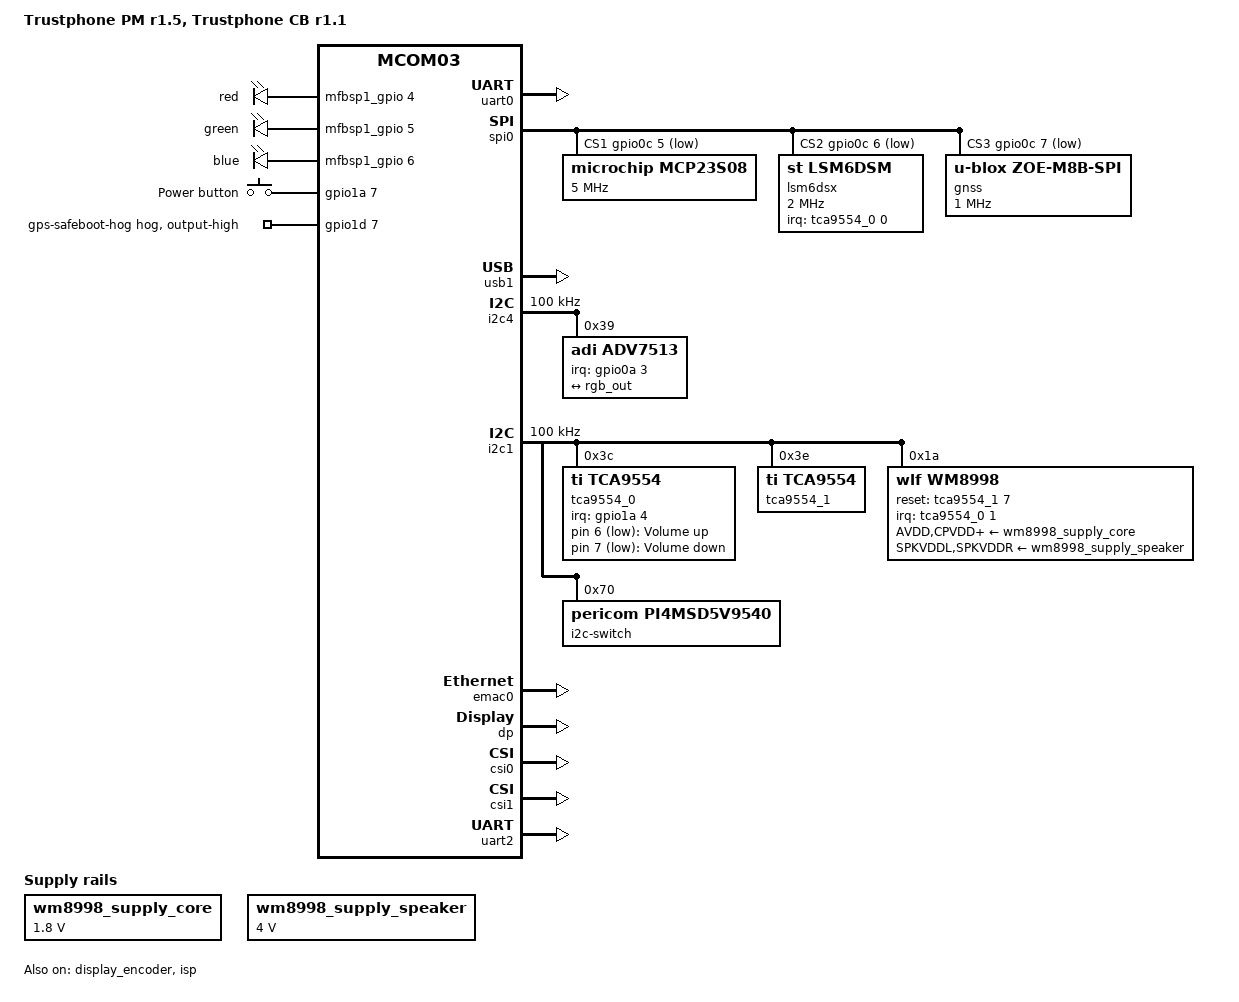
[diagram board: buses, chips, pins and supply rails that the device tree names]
// SPDX-License-Identifier: GPL-2.0+
/*
 * Copyright 2021 RnD Center "ELVEES", JSC
 */

/dts-v1/;

#include <dt-bindings/mfd/arizona.h>
#include <dt-bindings/input/linux-event-codes.h>

#include "mcom03-trustphonepm-r1.5.dtsi"

/ {
	model = "Trustphone PM r1.5, Trustphone CB r1.1";
	compatible = "elvees,trustphonepm-r1.5-trustphonecb-r1.1",
		     "elvees,trustphonepm-trustphonecb",
		     "elvees,trustphonecb-r1.1",
		     "elvees,trustphonecb",
		     "elvees,trustphonepm-r1.5",
		     "elvees,trustphonepm",
		     "elvees,mcom03";

	trustphonecb-leds {
		compatible = "gpio-leds";

		red {
			gpios = <&mfbsp1_gpio 4 GPIO_ACTIVE_HIGH>;
			default-state = "off";
		};

		green {
			gpios = <&mfbsp1_gpio 5 GPIO_ACTIVE_HIGH>;
			default-state = "off";
		};

		blue {
			gpios = <&mfbsp1_gpio 6 GPIO_ACTIVE_HIGH>;
			default-state = "off";
		};
	};

	trustphonecb_gpio_keys: gpio-keys {
		compatible = "gpio-keys";
		autorepeat;
		pinctrl-names = "default";
		pinctrl-0 = <&pwr_button_cfg_default &gpio_pwr_button_mux>;

		power-button {
			label = "Power button";
			linux,code = <KEY_POWER>;
			interrupts-extended = <&gpio1a 7 IRQ_TYPE_LEVEL_LOW>;
		};

		volume-up {
			label = "Volume up";
			linux,code = <KEY_VOLUMEUP>;
			gpios = <&tca9554_0 6 GPIO_ACTIVE_LOW>;
		};

		volume-down {
			label = "Volume down";
			linux,code = <KEY_VOLUMEDOWN>;
			gpios = <&tca9554_0 7 GPIO_ACTIVE_LOW>;
		};
	};

	adv7513_cec_clk: adv7513_cec_clk {
		#clock-cells = <0>;
		compatible = "fixed-clock";
		clock-frequency = <12000000>;
	};

	/* regulator@0 is described in mcom03-trustphonepm-r1.5.dtsi */
	wm8998_supply_core: regulator@1 {
		compatible = "regulator-fixed";
		regulator-name = "wm8998-supply-core";
		regulator-min-microvolt = <1800000>;
		regulator-max-microvolt = <1800000>;
		regulator-always-on;
	};

	wm8998_supply_speaker: regulator@2 {
		compatible = "regulator-fixed";
		regulator-name = "wm8998-supply-speaker";
		regulator-min-microvolt = <4000000>;
		regulator-max-microvolt = <4000000>;
		regulator-always-on;
	};

	soundcard@0 {
		compatible = "elvees,trustphone-wm8998";

		model = "Trustphone WM8998";

		elvees,audio-routing =
			"Modem Out", "Modem TX",
			"Modem RX", "Modem In",
			"AIF2 Capture", "Modem Out",
			"Modem RX", "AIF2 Playback",
			"IN2B", "MICBIAS1",
			"IN1BL", "MICVDD";

		codec {
			sound-dai = <&wm8998>;
		};
	};
};

&uart0 {
	status = "okay";
};

&spi0 {
	status = "okay";
	num-cs = <4>;
	cs-gpios = <&gpio0c 4 GPIO_ACTIVE_LOW>, <&gpio0c 5 GPIO_ACTIVE_LOW>,
		   <&gpio0c 6 GPIO_ACTIVE_LOW>, <&gpio0c 7 GPIO_ACTIVE_LOW>;

	mcp23s08: gpio-expander@1 {
		compatible = "microchip,mcp23s08";
		reg = <1>;
		#gpio-cells = <2>;
		gpio-controller;
		spi-max-frequency = <5000000>;
		microchip,spi-present-mask = <0x1>;
		gpio-line-names = "CAMR_CUT", "CAMF_CUT", "WIFI_CUT",
				  "SPEAKER_CUT", "MIC_CUT", "GIRO_CUT",
				  "GPS_CUT", "VIBRO_CUT";
	};

	lsm6dsx: imu@2 {
		compatible = "st,lsm6dsm";
		reg = <2>;
		// Maximum is 10 MHz, but lower here due to bad MISO signal
		spi-max-frequency = <2000000>;

		interrupt-parent = <&tca9554_0>;
		interrupts = <0 IRQ_TYPE_EDGE_RISING>;
	};

	gnss@3 {
		compatible = "u-blox,zoe-m8b-spi";
		reg = <3>;
		spi-max-frequency = <1000000>;
	};
};

/* GPIO lines are named after their connection name either on Trusphone PM or
 * on Trusphone CB. */
&gpio0a {
	gpio-line-names = "BT_UART_RX", "BT_UART_TX", "BT_UART_CTS", "HDMI_INT",
		"RTC_MFP", "PMIC1_INTB", "RGMII_INT", "BT_UART_RTS";
};

&gpio0b {
	gpio-line-names = "CHG_EN", "CHG_DSEL", "CHG_QON", "CHG_STATUS", "TE",
		"UART1_RX", "UART1_TX", "UART2_RX";
};

&gpio0c {
	gpio-line-names = "SPI0_CLK", "SPI0_MOSI", "SPI0_MISO", "D_GPIO",
		"SPI0_nCS_FP", "SPI0_nCS_CUT", "SPI0_nCS_GYRO", "SPI0_nCS_GNSS";
};

&gpio0d {
	gpio-line-names = "UART2_TX", "DSP_HWEN", "CAMR_PWDN", "I2C0_SCL",
		"I2C0_SDA", "I2C0_ALERT", "CAMF_PWDN", "EN_CAMF_CLK";
};

&gpio1a {
	gpio-line-names = "I2C1_SCL", "I2C1_SDA", "BT_HOST_WAKE",
		"WL_HOST_WAKE", "INT_EXP_INT", "TPS_INT", "CHG_INT",
		"PWR_BUT_INT";

	gpio_pwr_button_mux: pwr-button {
		gpio {
			groups = "pin7";
		};
	};
};

&gpio1b {
	gpio-line-names = "I2S0_SCLKO", "I2S0_WSO", "I2S0_SDO0", "I2S0_SDO1",
		"I2S0_SDI", "I2S0_SCLK_IN", "UART0_TX", "UART0_RX";
};

&gpio1c {
	gpio-line-names = "EN_CAMR_CLK", "BT_DEV_WAKE", "CSI_SEL", "CSI_nOE",
		"WIFI_nPWD", "RGMII_nRESET", "WL_DEV_WAKE", "";
};

&gpio1d {
	gpio-line-names = "CAMR2_FSIN", "", "DSP_PWM", "VIBRO_PWM",
		"LTE_PWR_ON", "LTE_AP_READY", "D_RAIL_EN", "GPS_SAFEBOOT";

	/* GPS_SAFEBOOT is used to choose GNSS receiver mode: normal (high
	 * level) or QSPI programming. Move GNSS receiver to 'normal mode'.
	 */
	gps-safeboot-hog {
		gpio-hog;
		gpios = <7 GPIO_ACTIVE_HIGH>;
		output-high;
	};
};

/* Connected to USB hub */
&usb1 {
	status = "okay";
};

&i2c4 {
	/* Not all devices are checked to 400kHz support */
	clock-frequency = <100000>;
	status = "okay";

	adv7513: hdmi@39 {
		compatible = "adi,adv7513";
		reg = <0x39>, <0x3f>;
		reg-names = "main", "edid";
		interrupt-parent = <&gpio0a>;
		interrupts = <3 IRQ_TYPE_EDGE_FALLING>;
		clocks = <&adv7513_cec_clk>;
		clock-names = "cec";
		adi,input-depth = <8>;
		adi,input-colorspace = "rgb";
		adi,input-clock = "1x";
		#address-cells = <1>;
		#size-cells = <0>;

		port@0 {
			reg = <0>;
			adv7513_in: endpoint {
				remote-endpoint = <&rgb_out>;
			};
		};
	};
};

/* pinctrl driver doesn't enable pad receiver when GPIO pin is requested as an
 * interrupt. This is a workaround for this issue.
 */
&lsperiph1_pinctrl {
	tca9554_0_default: tca9554_0-cfg {
		pins = "GPIOA_4";
		input-enable;
	};

	pwr_button_cfg_default: gpioa1-power-cfg {
		pins = "GPIOA_7";
		input-enable;
	};
};

&i2c1 {
	/* Not all devices are checked to 400kHz support */
	clock-frequency = <100000>;
	status = "okay";

	/* DD29 */
	tca9554_0: gpio-expander@3c {
		compatible = "ti,tca9554";
		reg = <0x3c>;
		gpio-controller;
		#gpio-cells = <2>;
		interrupt-parent = <&gpio1a>;
		interrupts = <4 IRQ_TYPE_EDGE_FALLING>;
		interrupt-controller;
		#interrupt-cells = <2>;

		pinctrl-names = "default";
		pinctrl-0 = <&tca9554_0_default>;
		gpio-line-names = "GYRO_INT", "AUD_INT", "FP_INT", "FG_ALRT",
				  "PROX_INT", "TOUCH_INT", "VOLUME_UP",
				  "VOLUME_DOWN";
	};

	/* DD30 */
	tca9554_1: gpio-expander@3e {
		compatible = "ti,tca9554";
		reg = <0x3e>;
		gpio-controller;
		#gpio-cells = <2>;
		gpio-line-names = "HRESET", "D_RESET", "TOUCH_RESET",
				  "CAMR1_RESET", "CAMR2_RESET", "CAMF_RESET",
				  "USB2SD_RESET", "AUD_nRESET";
	};

	wm8998: audio-codec@1a {
		compatible = "wlf,wm8998";
		reg = <0x1a>;
		interrupts-extended = <&tca9554_0 1 IRQ_TYPE_EDGE_FALLING>;
		interrupt-controller;
		#interrupt-cells = <2>;
		gpio-controller;
		#gpio-cells = <2>;
		reset-gpios = <&tca9554_1 7 0>;
		#sound-dai-cells = <0>;

		AVDD-supply = <&wm8998_supply_core>;
		CPVDD-supply = <&wm8998_supply_core>;
		DBVDD1-supply = <&wm8998_supply_core>;
		DBVDD2-supply = <&wm8998_supply_core>;
		DBVDD3-supply = <&wm8998_supply_core>;
		LDOVDD-supply = <&wm8998_supply_core>;
		SPKVDDL-supply = <&wm8998_supply_speaker>;
		SPKVDDR-supply = <&wm8998_supply_speaker>;

		wlf,inmode = <1 1 1 1>;
		wlf,clk32k-source = <ARIZONA_32KZ_NONE>;
	};

	i2c-switch@70 {
		compatible = "pericom,pi4msd5v9540", "nxp,pca9540";
		#address-cells = <1>;
		#size-cells = <0>;
		reg = <0x70>;

		i2c_camr: i2c@0 {
			#address-cells = <1>;
			#size-cells = <0>;
			reg = <0>;
		};

		i2c_camf: i2c@1 {
			#address-cells = <1>;
			#size-cells = <0>;
			reg = <1>;
		};
	};
};

&hsperiph_pinctrl {
	pinctrl-0 = <&hsperiph_misc_default &emac_v18>;
};

&emac0 {
	status = "okay";
};

&dp {
	status = "okay";
};

&display_encoder {
	status = "okay";
	video-output = "rgb";

	ports {
		port@2 {
			reg = <2>;

			rgb_out: endpoint {
				remote-endpoint = <&adv7513_in>;
			};
		};
	};
};

&isp {
	status = "okay";
};

&csi0 {
	status = "okay";
};

&csi1 {
	status = "okay";
};

&uart2 {
	status = "okay";
};

&mfbsp0_gpio {
	status = "okay";

	gpio-line-names = "", "SPIc_CLK", "SPIc_nCS1", "SPIc_nCS0",
	"SPIc_MISO", "SPIc_MOSI", "", "SWITCH_SPI", "SWITCH_SPI_BTN",
	"AUD_LDOEN", "", "", "", "", "", "", "", "", "", "", "", "", "",
	"", "", "", "", "", "", "", "", "" ;
	gpio-reserved-ranges = <0 7>, <10 22>;
};

&mfbsp1_gpio {
	status = "okay";

	gpio-line-names = "", "CUTTER_nRST", "FLASH_SYNC", "FLASH_GPIO",
	"RGB_INDC_R", "RGB_INDC_G", "RGB_INDC_B", "LTE_nRESET",
	"GPS_nRESET", "FP_nRST", "", "", "", "", "", "", "", "", "", "",
	"", "", "", "", "", "", "", "", "", "", "", "" ;
	gpio-reserved-ranges = <0 1>, <10 22>;
};
